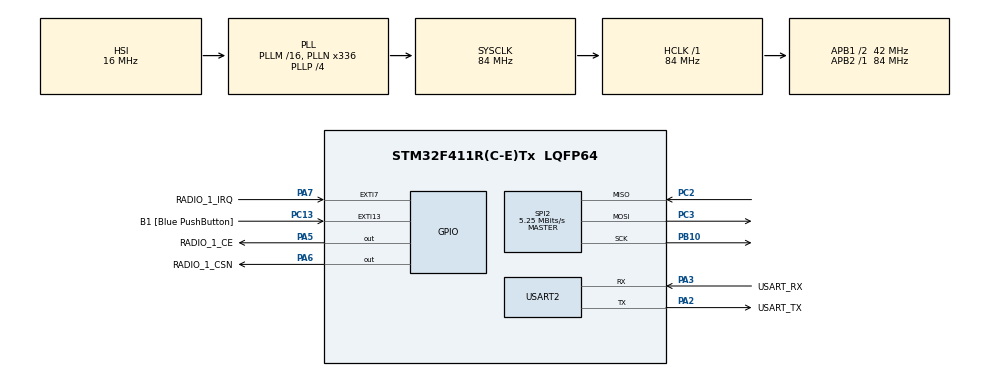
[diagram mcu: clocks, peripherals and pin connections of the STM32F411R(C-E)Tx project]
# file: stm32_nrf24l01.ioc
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ADC1.Channel-0\#ChannelRegularConversion=ADC_CHANNEL_TEMPSENSOR
ADC1.Channel-1\#ChannelRegularConversion=ADC_CHANNEL_VREFINT
ADC1.DMAContinuousRequests=ENABLE
ADC1.EOCSelection=ADC_EOC_SEQ_CONV
ADC1.ExternalTrigConv=ADC_EXTERNALTRIGCONV_T3_TRGO
ADC1.ExternalTrigConvEdge=ADC_EXTERNALTRIGCONVEDGE_FALLING
ADC1.NbrOfConversion=2
ADC1.NbrOfConversionFlag=1
ADC1.Rank-0\#ChannelRegularConversion=1
ADC1.Rank-1\#ChannelRegularConversion=2
ADC1.SamplingTime-0\#ChannelRegularConversion=ADC_SAMPLETIME_84CYCLES
ADC1.SamplingTime-1\#ChannelRegularConversion=ADC_SAMPLETIME_84CYCLES
ADC1.ScanConvMode=ENABLE
ADC1.master=1
Dma.ADC1.0.Direction=DMA_PERIPH_TO_MEMORY
Dma.ADC1.0.FIFOMode=DMA_FIFOMODE_DISABLE
Dma.ADC1.0.Instance=DMA2_Stream0
Dma.ADC1.0.MemDataAlignment=DMA_MDATAALIGN_HALFWORD
Dma.ADC1.0.MemInc=DMA_MINC_ENABLE
Dma.ADC1.0.Mode=DMA_CIRCULAR
Dma.ADC1.0.PeriphDataAlignment=DMA_PDATAALIGN_HALFWORD
Dma.ADC1.0.PeriphInc=DMA_PINC_DISABLE
Dma.ADC1.0.Priority=DMA_PRIORITY_LOW
Dma.Request0=ADC1
Mcu.Family=STM32F4
Mcu.Name=STM32F411R(C-E)Tx
Mcu.Package=LQFP64
NVIC.ADC_IRQn=true\:0\:0\:false\:false\:true\:true\:true\:true
NVIC.DMA2_Stream0_IRQn=true\:0\:0\:false\:false\:true\:false\:true\:true
NVIC.EXTI15_10_IRQn=true\:0\:0\:false\:false\:true\:true\:true\:true
NVIC.EXTI9_5_IRQn=true\:0\:0\:false\:false\:true\:true\:true\:true
NVIC.PriorityGroup=NVIC_PRIORITYGROUP_0
NVIC.TIM4_IRQn=true\:0\:0\:false\:false\:true\:true\:true\:true
PA13.GPIO_Label=TMS
PA13.Mode=Serial_Wire
PA13.Signal=SYS_JTMS-SWDIO
PA14.GPIO_Label=TCK
PA14.Mode=Serial_Wire
PA14.Signal=SYS_JTCK-SWCLK
PA2.GPIO_Label=USART_TX
PA2.Mode=Asynchronous
PA2.Signal=USART2_TX
PA3.GPIO_Label=USART_RX
PA3.Mode=Asynchronous
PA3.Signal=USART2_RX
PA5.GPIO_Label=RADIO_1_CE
PA5.Signal=GPIO_Output
PA6.GPIO_Label=RADIO_1_CSN
PA6.Signal=GPIO_Output
PA7.GPIO_Label=RADIO_1_IRQ
PA7.GPIO_ModeDefaultEXTI=GPIO_MODE_IT_FALLING
PA7.Signal=GPXTI7
PB10.Mode=Full_Duplex_Master
PB10.Signal=SPI2_SCK
PB3.GPIO_Label=SWO
PB3.Signal=SYS_JTDO-SWO
PC13-ANTI_TAMP.GPIO_Label=B1 [Blue PushButton]
PC13-ANTI_TAMP.GPIO_ModeDefaultEXTI=GPIO_MODE_IT_FALLING
PC13-ANTI_TAMP.Signal=GPXTI13
PC14-OSC32_IN.Mode=LSE-External-Oscillator
PC14-OSC32_IN.Signal=RCC_OSC32_IN
PC15-OSC32_OUT.Mode=LSE-External-Oscillator
PC15-OSC32_OUT.Signal=RCC_OSC32_OUT
PC2.Mode=Full_Duplex_Master
PC2.Signal=SPI2_MISO
PC3.Mode=Full_Duplex_Master
PC3.Signal=SPI2_MOSI
PH0\ -\ OSC_IN.Mode=HSE-External-Clock-Source
PH0\ -\ OSC_IN.Signal=RCC_OSC_IN
PH1\ -\ OSC_OUT.Mode=HSE-External-Clock-Source
PH1\ -\ OSC_OUT.Signal=RCC_OSC_OUT
ProjectManager.HeapSize=0x200
ProjectManager.StackSize=0x400
ProjectManager.TargetToolchain=STM32CubeIDE
RCC.48MHZClocksFreq_Value=84000000
RCC.AHBFreq_Value=84000000
RCC.APB1CLKDivider=RCC_HCLK_DIV2
RCC.APB1Freq_Value=42000000
RCC.APB1TimFreq_Value=84000000
RCC.APB2Freq_Value=84000000
RCC.APB2TimFreq_Value=84000000
RCC.CortexFreq_Value=84000000
RCC.FLatency-AdvancedSettings=FLASH_LATENCY_2
RCC.HCLKFreq_Value=84000000
RCC.HSE_VALUE=8000000
RCC.HSI_VALUE=16000000
RCC.PLLN=336
RCC.PLLP=RCC_PLLP_DIV4
RCC.SYSCLKFreq_VALUE=84000000
RCC.SYSCLKSource=RCC_SYSCLKSOURCE_PLLCLK
RCC.VCOOutputFreq_Value=336000000
SPI2.BaudRatePrescaler=SPI_BAUDRATEPRESCALER_8
SPI2.CalculateBaudRate=5.25 MBits/s
SPI2.Direction=SPI_DIRECTION_2LINES
SPI2.Mode=SPI_MODE_MASTER
SPI2.VirtualType=VM_MASTER
TIM3.AutoReloadPreload=TIM_AUTORELOAD_PRELOAD_ENABLE
TIM3.Period=999
TIM3.Prescaler=839
TIM3.TIM_MasterOutputTrigger=TIM_TRGO_UPDATE
TIM4.AutoReloadPreload=TIM_AUTORELOAD_PRELOAD_ENABLE
TIM4.Period=59999
TIM4.Prescaler=41999
TIM4.TIM_MasterOutputTrigger=TIM_TRGO_RESET
USART2.VirtualMode=VM_ASYNC
VP_ADC1_TempSens_Input.Mode=IN-TempSens
VP_ADC1_Vref_Input.Mode=IN-Vrefint
VP_TIM3_VS_ClockSourceINT.Mode=Internal
VP_TIM4_VS_ClockSourceINT.Mode=Internal
board=NUCLEO-F411RE

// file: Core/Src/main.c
/* USER CODE BEGIN Header */
/**
  ******************************************************************************
  * @file           : main.c
  * @brief          : Main program body
  ******************************************************************************
  * @attention
  *
  * Copyright (c) 2024 STMicroelectronics.
  * All rights reserved.
  *
  * This software is licensed under terms that can be found in the LICENSE file
  * in the root directory of this software component.
  * If no LICENSE file comes with this software, it is provided AS-IS.
  *
  ******************************************************************************
  */
/* USER CODE END Header */
#include "main.h"

ADC_HandleTypeDef hadc1;
DMA_HandleTypeDef hdma_adc1;

SPI_HandleTypeDef hspi2;

TIM_HandleTypeDef htim3;
TIM_HandleTypeDef htim4;

UART_HandleTypeDef huart2;

/* USER CODE BEGIN PV */
uint16_t adc_data[TEMPERATURE_ADC_BUFFER_SIZE] = {0};
uint8_t radio_receive_buffer[32] = {0};
bool time_to_send_data = false;
struct nrf24_t nrf_radio = {
  .spi = &hspi2,
  .ce = {
    .port = RADIO_1_CE_GPIO_Port,
    .pin = RADIO_1_CE_Pin,
  },
  .csn = {
    .port = RADIO_1_CSN_GPIO_Port,
    .pin = RADIO_1_CSN_Pin,
  },
  .irq = {
    .port = RADIO_1_IRQ_GPIO_Port,
    .pin = RADIO_1_IRQ_Pin,
  },
};

struct radio_t radio = {
  .address_width = NRF24_AW_5_BYTES,
  .channel = 36,
  .data_rate = NRF24_ADR_1_MBPS,
  .data_width = 32,
  .is_in_rx_mode = true,
  .nrf_radio = &nrf_radio,
};
/* USER CODE END PV */

void SystemClock_Config(void);
static void MX_GPIO_Init(void);
static void MX_DMA_Init(void);
static void MX_USART2_UART_Init(void);
static void MX_SPI2_Init(void);
static void MX_ADC1_Init(void);
static void MX_TIM3_Init(void);
static void MX_TIM4_Init(void);

int main(void)
{

  /* USER CODE BEGIN 1 */
  HAL_StatusTypeDef status;
  enum radio_operation_result_t radio_status;
  float temperature = 0.0f;
  /* USER CODE END 1 */

  /* MCU Configuration--------------------------------------------------------*/

  /* Reset of all peripherals, Initializes the Flash interface and the Systick. */
  HAL_Init();

  /* Configure the system clock */
  SystemClock_Config();

  /* Initialize all configured peripherals */
  MX_GPIO_Init();
  MX_DMA_Init();
  MX_USART2_UART_Init();
  MX_SPI2_Init();
  MX_ADC1_Init();
  MX_TIM3_Init();
  MX_TIM4_Init();
  /* USER CODE BEGIN 2 */
  HAL_Delay(1000);
  retarget_init(&huart2);
  printf("Basic setup done!\n");
  printf("Waiting for 10 seconds...\n");
  HAL_Delay(10000);
  /* USER CODE END 2 */

  /* Infinite loop */
  /* USER CODE BEGIN WHILE */

  printf("Starting radio...!\n");
  radio_status = radio_init(&radio);
  if(radio_status != RADIO_OK){
    printf("Error initializing radio\n");
  }

  printf("Starting timer...!\n");
  status = HAL_TIM_Base_Start(&htim3);
  if(status != HAL_OK){
    printf("Error starting timer\n");
  }

  printf("Starting ADC in DMA mode...!\n");
  status = HAL_ADC_Start_DMA(&hadc1, (uint32_t *)adc_data, TEMPERATURE_ADC_BUFFER_SIZE);
  if(status != HAL_OK){
    printf("Error starting ADC\n");
  }

  printf("Starting sending timer...!\n");
  status = HAL_TIM_Base_Start_IT(&htim4);
  if(status != HAL_OK){
    printf("Error starting sending timer\n");
  }

  char buffer[32] = {0};

  while (1)
  {
    temperature_process_adc_data(adc_data);
    if(time_to_send_data){
      temperature = temperature_get_temperature();
      printf("Temperature: %.2f\n", temperature);
      sprintf(buffer, "%.2f\n", temperature);
      radio_status = radio_send(&radio, (uint8_t *)buffer, 32);
      if(radio_status == RADIO_OK){
        printf("Data sent successfully\n");
        time_to_send_data = false;
      }
      else if(radio_status == RADIO_RETRY){
        printf("Radio busy, retrying\n");
      }
      else{
        printf("Error sending data\n");
        time_to_send_data = false;
      }
    }

    radio_status = radio_receive(&radio, radio_receive_buffer);
    if(radio_status == RADIO_OK){
      printf("Received data: %s\n", radio_receive_buffer);
      time_to_send_data = true;
    }
    else if(radio_status == RADIO_ERROR){
      printf("Error receiving data\n");
    }
    /* USER CODE END WHILE */

  }
}

void SystemClock_Config(void)
{
  RCC_OscInitTypeDef RCC_OscInitStruct = {0};
  RCC_ClkInitTypeDef RCC_ClkInitStruct = {0};

  /** Configure the main internal regulator output voltage
  */
  __HAL_RCC_PWR_CLK_ENABLE();
  __HAL_PWR_VOLTAGESCALING_CONFIG(PWR_REGULATOR_VOLTAGE_SCALE1);

  /** Initializes the RCC Oscillators according to the specified parameters
  * in the RCC_OscInitTypeDef structure.
  */
  RCC_OscInitStruct.OscillatorType = RCC_OSCILLATORTYPE_HSI;
  RCC_OscInitStruct.HSIState = RCC_HSI_ON;
  RCC_OscInitStruct.HSICalibrationValue = RCC_HSICALIBRATION_DEFAULT;
  RCC_OscInitStruct.PLL.PLLState = RCC_PLL_ON;
  RCC_OscInitStruct.PLL.PLLSource = RCC_PLLSOURCE_HSI;
  RCC_OscInitStruct.PLL.PLLM = 16;
  RCC_OscInitStruct.PLL.PLLN = 336;
  RCC_OscInitStruct.PLL.PLLP = RCC_PLLP_DIV4;
  RCC_OscInitStruct.PLL.PLLQ = 4;
  if (HAL_RCC_OscConfig(&RCC_OscInitStruct) != HAL_OK)
  {
    Error_Handler();
  }

  /** Initializes the CPU, AHB and APB buses clocks
  */
  RCC_ClkInitStruct.ClockType = RCC_CLOCKTYPE_HCLK|RCC_CLOCKTYPE_SYSCLK
                              |RCC_CLOCKTYPE_PCLK1|RCC_CLOCKTYPE_PCLK2;
  RCC_ClkInitStruct.SYSCLKSource = RCC_SYSCLKSOURCE_PLLCLK;
  RCC_ClkInitStruct.AHBCLKDivider = RCC_SYSCLK_DIV1;
  RCC_ClkInitStruct.APB1CLKDivider = RCC_HCLK_DIV2;
  RCC_ClkInitStruct.APB2CLKDivider = RCC_HCLK_DIV1;

  if (HAL_RCC_ClockConfig(&RCC_ClkInitStruct, FLASH_LATENCY_2) != HAL_OK)
  {
    Error_Handler();
  }
}

static void MX_ADC1_Init(void)
{

  ADC_ChannelConfTypeDef sConfig = {0};

  /** Configure the global features of the ADC (Clock, Resolution, Data Alignment and number of conversion)
  */
  hadc1.Instance = ADC1;
  hadc1.Init.ClockPrescaler = ADC_CLOCK_SYNC_PCLK_DIV4;
  hadc1.Init.Resolution = ADC_RESOLUTION_12B;
  hadc1.Init.ScanConvMode = ENABLE;
  hadc1.Init.ContinuousConvMode = DISABLE;
  hadc1.Init.DiscontinuousConvMode = DISABLE;
  hadc1.Init.ExternalTrigConvEdge = ADC_EXTERNALTRIGCONVEDGE_FALLING;
  hadc1.Init.ExternalTrigConv = ADC_EXTERNALTRIGCONV_T3_TRGO;
  hadc1.Init.DataAlign = ADC_DATAALIGN_RIGHT;
  hadc1.Init.NbrOfConversion = 2;
  hadc1.Init.DMAContinuousRequests = ENABLE;
  hadc1.Init.EOCSelection = ADC_EOC_SEQ_CONV;
  if (HAL_ADC_Init(&hadc1) != HAL_OK)
  {
    Error_Handler();
  }

  /** Configure for the selected ADC regular channel its corresponding rank in the sequencer and its sample time.
  */
  sConfig.Channel = ADC_CHANNEL_TEMPSENSOR;
  sConfig.Rank = 1;
  sConfig.SamplingTime = ADC_SAMPLETIME_84CYCLES;
  if (HAL_ADC_ConfigChannel(&hadc1, &sConfig) != HAL_OK)
  {
    Error_Handler();
  }

  /** Configure for the selected ADC regular channel its corresponding rank in the sequencer and its sample time.
  */
  sConfig.Channel = ADC_CHANNEL_VREFINT;
  sConfig.Rank = 2;
  if (HAL_ADC_ConfigChannel(&hadc1, &sConfig) != HAL_OK)
  {
    Error_Handler();
  }

}

static void MX_SPI2_Init(void)
{

  /* SPI2 parameter configuration*/
  hspi2.Instance = SPI2;
  hspi2.Init.Mode = SPI_MODE_MASTER;
  hspi2.Init.Direction = SPI_DIRECTION_2LINES;
  hspi2.Init.DataSize = SPI_DATASIZE_8BIT;
  hspi2.Init.CLKPolarity = SPI_POLARITY_LOW;
  hspi2.Init.CLKPhase = SPI_PHASE_1EDGE;
  hspi2.Init.NSS = SPI_NSS_SOFT;
  hspi2.Init.BaudRatePrescaler = SPI_BAUDRATEPRESCALER_8;
  hspi2.Init.FirstBit = SPI_FIRSTBIT_MSB;
  hspi2.Init.TIMode = SPI_TIMODE_DISABLE;
  hspi2.Init.CRCCalculation = SPI_CRCCALCULATION_DISABLE;
  hspi2.Init.CRCPolynomial = 10;
  if (HAL_SPI_Init(&hspi2) != HAL_OK)
  {
    Error_Handler();
  }

}

static void MX_TIM3_Init(void)
{

  TIM_ClockConfigTypeDef sClockSourceConfig = {0};
  TIM_MasterConfigTypeDef sMasterConfig = {0};

  htim3.Instance = TIM3;
  htim3.Init.Prescaler = 839;
  htim3.Init.CounterMode = TIM_COUNTERMODE_UP;
  htim3.Init.Period = 999;
  htim3.Init.ClockDivision = TIM_CLOCKDIVISION_DIV1;
  htim3.Init.AutoReloadPreload = TIM_AUTORELOAD_PRELOAD_ENABLE;
  if (HAL_TIM_Base_Init(&htim3) != HAL_OK)
  {
    Error_Handler();
  }
  sClockSourceConfig.ClockSource = TIM_CLOCKSOURCE_INTERNAL;
  if (HAL_TIM_ConfigClockSource(&htim3, &sClockSourceConfig) != HAL_OK)
  {
    Error_Handler();
  }
  sMasterConfig.MasterOutputTrigger = TIM_TRGO_UPDATE;
  sMasterConfig.MasterSlaveMode = TIM_MASTERSLAVEMODE_DISABLE;
  if (HAL_TIMEx_MasterConfigSynchronization(&htim3, &sMasterConfig) != HAL_OK)
  {
    Error_Handler();
  }

}

static void MX_TIM4_Init(void)
{

  TIM_ClockConfigTypeDef sClockSourceConfig = {0};
  TIM_MasterConfigTypeDef sMasterConfig = {0};

  htim4.Instance = TIM4;
  htim4.Init.Prescaler = 41999;
  htim4.Init.CounterMode = TIM_COUNTERMODE_UP;
  htim4.Init.Period = 59999;
  htim4.Init.ClockDivision = TIM_CLOCKDIVISION_DIV1;
  htim4.Init.AutoReloadPreload = TIM_AUTORELOAD_PRELOAD_ENABLE;
  if (HAL_TIM_Base_Init(&htim4) != HAL_OK)
  {
    Error_Handler();
  }
  sClockSourceConfig.ClockSource = TIM_CLOCKSOURCE_INTERNAL;
  if (HAL_TIM_ConfigClockSource(&htim4, &sClockSourceConfig) != HAL_OK)
  {
    Error_Handler();
  }
  sMasterConfig.MasterOutputTrigger = TIM_TRGO_RESET;
  sMasterConfig.MasterSlaveMode = TIM_MASTERSLAVEMODE_DISABLE;
  if (HAL_TIMEx_MasterConfigSynchronization(&htim4, &sMasterConfig) != HAL_OK)
  {
    Error_Handler();
  }

}

static void MX_USART2_UART_Init(void)
{

  huart2.Instance = USART2;
  huart2.Init.BaudRate = 115200;
  huart2.Init.WordLength = UART_WORDLENGTH_8B;
  huart2.Init.StopBits = UART_STOPBITS_1;
  huart2.Init.Parity = UART_PARITY_NONE;
  huart2.Init.Mode = UART_MODE_TX_RX;
  huart2.Init.HwFlowCtl = UART_HWCONTROL_NONE;
  huart2.Init.OverSampling = UART_OVERSAMPLING_16;
  if (HAL_UART_Init(&huart2) != HAL_OK)
  {
    Error_Handler();
  }

}

static void MX_DMA_Init(void)
{

  /* DMA controller clock enable */
  __HAL_RCC_DMA2_CLK_ENABLE();

  /* DMA interrupt init */
  /* DMA2_Stream0_IRQn interrupt configuration */
  HAL_NVIC_SetPriority(DMA2_Stream0_IRQn, 0, 0);
  HAL_NVIC_EnableIRQ(DMA2_Stream0_IRQn);

}

static void MX_GPIO_Init(void)
{
  GPIO_InitTypeDef GPIO_InitStruct = {0};

  /* GPIO Ports Clock Enable */
  __HAL_RCC_GPIOC_CLK_ENABLE();
  __HAL_RCC_GPIOH_CLK_ENABLE();
  __HAL_RCC_GPIOA_CLK_ENABLE();
  __HAL_RCC_GPIOB_CLK_ENABLE();

  /*Configure GPIO pin Output Level */
  HAL_GPIO_WritePin(GPIOA, RADIO_1_CE_Pin|RADIO_1_CSN_Pin, GPIO_PIN_RESET);

  /*Configure GPIO pin : B1_Pin */
  GPIO_InitStruct.Pin = B1_Pin;
  GPIO_InitStruct.Mode = GPIO_MODE_IT_FALLING;
  GPIO_InitStruct.Pull = GPIO_NOPULL;
  HAL_GPIO_Init(B1_GPIO_Port, &GPIO_InitStruct);

  /*Configure GPIO pins : RADIO_1_CE_Pin RADIO_1_CSN_Pin */
  GPIO_InitStruct.Pin = RADIO_1_CE_Pin|RADIO_1_CSN_Pin;
  GPIO_InitStruct.Mode = GPIO_MODE_OUTPUT_PP;
  GPIO_InitStruct.Pull = GPIO_NOPULL;
  GPIO_InitStruct.Speed = GPIO_SPEED_FREQ_LOW;
  HAL_GPIO_Init(GPIOA, &GPIO_InitStruct);

  /*Configure GPIO pin : RADIO_1_IRQ_Pin */
  GPIO_InitStruct.Pin = RADIO_1_IRQ_Pin;
  GPIO_InitStruct.Mode = GPIO_MODE_IT_FALLING;
  GPIO_InitStruct.Pull = GPIO_NOPULL;
  HAL_GPIO_Init(RADIO_1_IRQ_GPIO_Port, &GPIO_InitStruct);

  /* EXTI interrupt init*/
  HAL_NVIC_SetPriority(EXTI9_5_IRQn, 0, 0);
  HAL_NVIC_EnableIRQ(EXTI9_5_IRQn);

  HAL_NVIC_SetPriority(EXTI15_10_IRQn, 0, 0);
  HAL_NVIC_EnableIRQ(EXTI15_10_IRQn);

}

void Error_Handler(void)
{
  __disable_irq();
  while (1)
  {
  }
}
